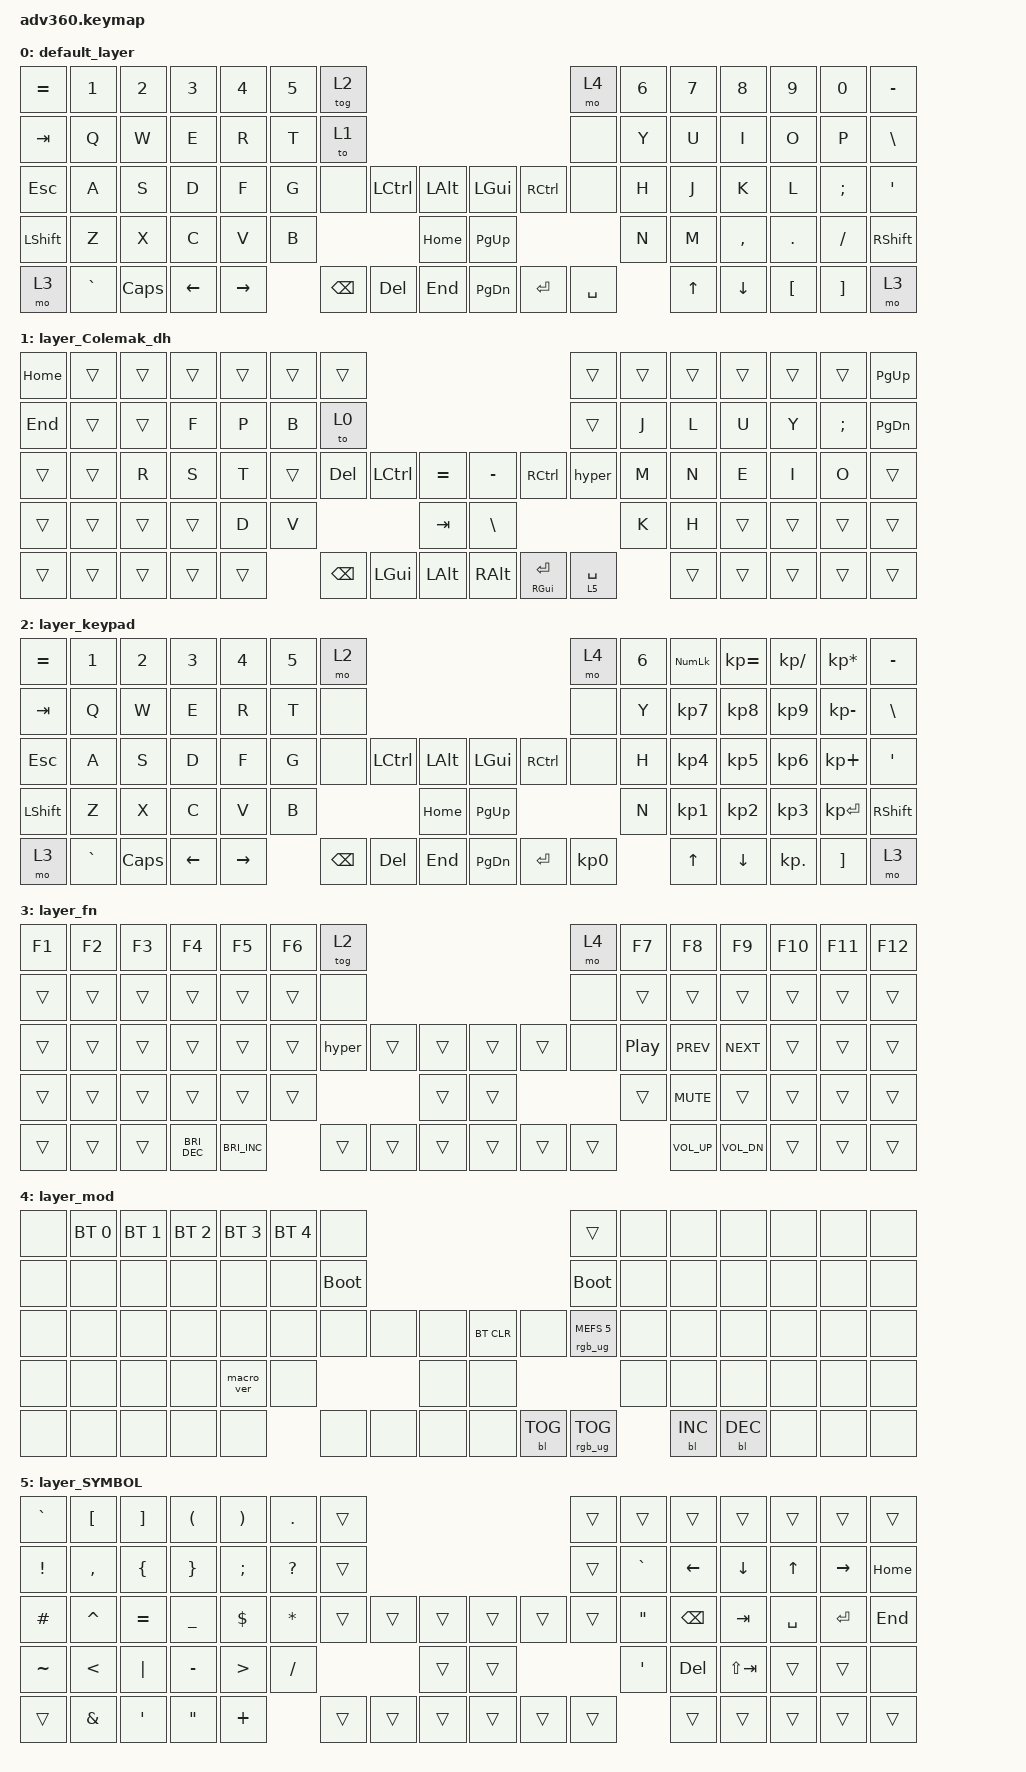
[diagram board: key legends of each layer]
/*
 * Copyright (c) 2020 The ZMK Contributors
 *
 * SPDX-License-Identifier: MIT
 */
/* THIS FILE WAS GENERATED!
 *
 * This file was generated automatically. You may or may not want to
 * edit it directly.
 */

#include <behaviors.dtsi>
#include <dt-bindings/zmk/backlight.h>
#include <dt-bindings/zmk/bt.h>
#include <dt-bindings/zmk/keys.h>
#include <dt-bindings/zmk/rgb.h>

/ {
    behaviors {
        #include "macros.dtsi"
    #include "version.dtsi"

        hm: homerow_mods {
            compatible = "zmk,behavior-hold-tap";
            label = "HOMEROW_MODS";
            #binding-cells = <2>;
            tapping-term-ms = <200>;
            quick_tap_ms = <175>;
            flavor = "tap-preferred";
            bindings = <&kp>, <&kp>;
        };
    };

    macros {
        hyper: hyper {
            compatible = "zmk,behavior-macro";
            #binding-cells = <0>;
            bindings =
                <&macro_press>,
                <&kp LSHFT &kp LGUI &kp LCTRL &kp LALT>,
                <&macro_pause_for_release>,
                <&macro_release>,
                <&kp LALT &kp LCTRL &kp LGUI &kp LSHFT>;

            label = "HYPER";
        };
    };

    keymap {
        compatible = "zmk,keymap";

        default_layer {
            bindings = <
&kp EQUAL  &kp N1     &kp N2    &kp N3    &kp N4     &kp N5  &tog 2                                                   &mo 4      &kp N6  &kp N7  &kp N8     &kp N9    &kp N0    &kp MINUS
&kp TAB    &kp Q      &kp W     &kp E     &kp R      &kp T   &to 1                                                    &none      &kp Y   &kp U   &kp I      &kp O     &kp P     &kp BSLH
&kp ESC    &kp A      &kp S     &kp D     &kp F      &kp G   &none     &kp LCTRL  &kp LALT      &kp LGUI   &kp RCTRL  &none      &kp H   &kp J   &kp K      &kp L     &kp SEMI  &kp SQT
&kp LSHFT  &kp Z      &kp X     &kp C     &kp V      &kp B                        &kp HOME      &kp PG_UP                        &kp N   &kp M   &kp COMMA  &kp DOT   &kp FSLH  &kp RSHFT
&mo 3      &kp GRAVE  &kp CAPS  &kp LEFT  &kp RIGHT          &kp BSPC  &kp DEL    &kp END       &kp PG_DN  &kp ENTER  &kp SPACE          &kp UP  &kp DOWN   &kp LBKT  &kp RBKT  &mo 3
            >;
        };

        layer_Colemak_dh {
            bindings = <
&kp HOME  &trans  &trans  &trans  &trans  &trans  &trans                                                         &trans       &trans  &trans  &trans  &trans  &trans    &kp PG_UP
&kp END   &trans  &trans  &kp F   &kp P   &kp B   &to 0                                                          &trans       &kp J   &kp L   &kp U   &kp Y   &kp SEMI  &kp PG_DN
&trans    &trans  &kp R   &kp S   &kp T   &trans  &kp DEL   &kp LCTRL  &kp EQUAL      &kp MINUS  &kp RCTRL       &hyper       &kp M   &kp N   &kp E   &kp I   &kp O     &trans
&trans    &trans  &trans  &trans  &kp D   &kp V                        &kp TAB        &kp BSLH                                &kp K   &kp H   &trans  &trans  &trans    &trans
&trans    &trans  &trans  &trans  &trans          &kp BSPC  &kp LGUI   &kp LALT       &kp RALT   &mt RGUI ENTER  &lt 5 SPACE          &trans  &trans  &trans  &trans    &trans
            >;
        };

        layer_keypad {
            bindings = <
&kp EQUAL  &kp N1     &kp N2    &kp N3    &kp N4     &kp N5  &mo 2                                                    &mo 4      &kp N6  &kp KP_NUM  &kp KP_EQUAL  &kp KP_DIVIDE  &kp KP_MULTIPLY  &kp MINUS
&kp TAB    &kp Q      &kp W     &kp E     &kp R      &kp T   &none                                                    &none      &kp Y   &kp KP_N7   &kp KP_N8     &kp KP_N9      &kp KP_MINUS     &kp BSLH
&kp ESC    &kp A      &kp S     &kp D     &kp F      &kp G   &none     &kp LCTRL  &kp LALT      &kp LGUI   &kp RCTRL  &none      &kp H   &kp KP_N4   &kp KP_N5     &kp KP_N6      &kp KP_PLUS      &kp SQT
&kp LSHFT  &kp Z      &kp X     &kp C     &kp V      &kp B                        &kp HOME      &kp PG_UP                        &kp N   &kp KP_N1   &kp KP_N2     &kp KP_N3      &kp KP_ENTER     &kp RSHFT
&mo 3      &kp GRAVE  &kp CAPS  &kp LEFT  &kp RIGHT          &kp BSPC  &kp DEL    &kp END       &kp PG_DN  &kp ENTER  &kp KP_N0          &kp UP      &kp DOWN      &kp KP_DOT     &kp RBKT         &mo 3
            >;
        };

        layer_fn {
            bindings = <
&kp F1  &kp F2  &kp F3  &kp F4                &kp F5                &kp F6  &tog 2                                      &mo 4   &kp F7            &kp F8        &kp F9        &kp F10  &kp F11  &kp F12
&trans  &trans  &trans  &trans                &trans                &trans  &none                                       &none   &trans            &trans        &trans        &trans   &trans   &trans
&trans  &trans  &trans  &trans                &trans                &trans  &hyper  &trans  &trans      &trans  &trans  &none   &kp C_PLAY_PAUSE  &kp C_PREV    &kp C_NEXT    &trans   &trans   &trans
&trans  &trans  &trans  &trans                &trans                &trans                  &trans      &trans                  &trans            &kp C_MUTE    &trans        &trans   &trans   &trans
&trans  &trans  &trans  &kp C_BRIGHTNESS_DEC  &kp C_BRIGHTNESS_INC          &trans  &trans  &trans      &trans  &trans  &trans                    &kp C_VOL_UP  &kp C_VOL_DN  &trans   &trans   &trans
            >;
        };

        layer_mod {
            bindings = <
&none  &bt BT_SEL 0  &bt BT_SEL 1  &bt BT_SEL 2  &bt BT_SEL 3  &bt BT_SEL 4  &none                                                  &trans                  &none  &none       &none       &none  &none  &none
&none  &none         &none         &none         &none         &none         &bootloader                                            &bootloader             &none  &none       &none       &none  &none  &none
&none  &none         &none         &none         &none         &none         &none        &none  &none      &bt BT_CLR  &none       &rgb_ug RGB_MEFS_CMD 5  &none  &none       &none       &none  &none  &none
&none  &none         &none         &none         &macro_ver    &none                             &none      &none                                           &none  &none       &none       &none  &none  &none
&none  &none         &none         &none         &none                       &none        &none  &none      &none       &bl BL_TOG  &rgb_ug RGB_TOG                &bl BL_INC  &bl BL_DEC  &none  &none  &none
            >;
        };

        layer_SYMBOL {
            bindings = <
&kp GRAVE        &kp LEFT_BRACKET  &kp RIGHT_BRACKET  &kp LEFT_PARENTHESIS  &kp RIGHT_PARENTHESIS  &kp PERIOD    &trans                                      &trans  &trans             &trans         &trans       &trans     &trans     &trans
&kp EXCLAMATION  &kp COMMA         &kp LEFT_BRACE     &kp RIGHT_BRACE       &kp SEMICOLON          &kp QUESTION  &trans                                      &trans  &kp GRAVE          &kp LEFT       &kp DOWN     &kp UP     &kp RIGHT  &kp HOME
&kp POUND        &kp CARET         &kp EQUAL          &kp UNDERSCORE        &kp DOLLAR             &kp ASTERISK  &trans  &trans  &trans      &trans  &trans  &trans  &kp DOUBLE_QUOTES  &kp BACKSPACE  &kp TAB      &kp SPACE  &kp ENTER  &kp END
&kp TILDE        &kp LESS_THAN     &kp PIPE           &kp MINUS             &kp GREATER_THAN       &kp SLASH                     &trans      &trans                  &kp SINGLE_QUOTE   &kp DELETE     &kp LS(TAB)  &trans     &trans     &none
&trans           &kp AMPERSAND     &kp SINGLE_QUOTE   &kp DOUBLE_QUOTES     &kp PLUS                             &trans  &trans  &trans      &trans  &trans  &trans                     &trans         &trans       &trans     &trans     &trans
            >;
        };
    };
};
